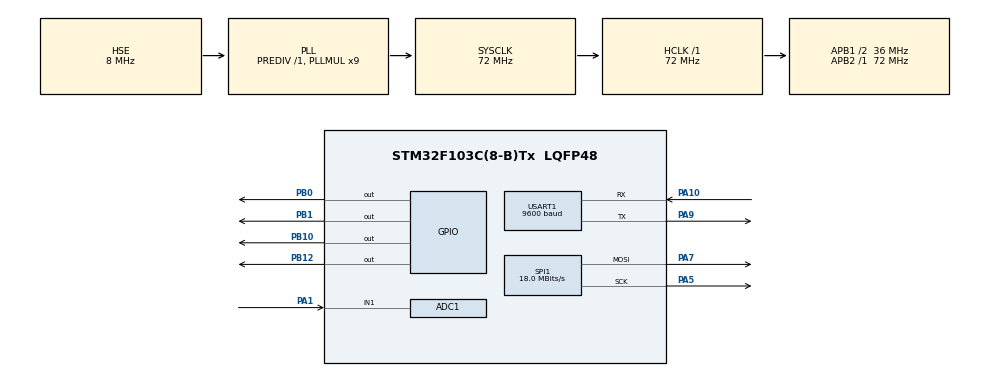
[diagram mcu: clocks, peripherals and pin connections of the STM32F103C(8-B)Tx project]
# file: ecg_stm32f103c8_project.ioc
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ADC1.Channel-0\#ChannelRegularConversion=ADC_CHANNEL_1
ADC1.ExternalTrigConv=ADC_EXTERNALTRIGCONV_T3_TRGO
ADC1.NbrOfConversionFlag=1
ADC1.Rank-0\#ChannelRegularConversion=1
ADC1.SamplingTime-0\#ChannelRegularConversion=ADC_SAMPLETIME_1CYCLE_5
ADC1.master=1
Dma.Request0=SPI1_TX
Dma.SPI1_TX.0.Direction=DMA_MEMORY_TO_PERIPH
Dma.SPI1_TX.0.Instance=DMA1_Channel3
Dma.SPI1_TX.0.MemDataAlignment=DMA_MDATAALIGN_BYTE
Dma.SPI1_TX.0.MemInc=DMA_MINC_ENABLE
Dma.SPI1_TX.0.Mode=DMA_NORMAL
Dma.SPI1_TX.0.PeriphDataAlignment=DMA_PDATAALIGN_BYTE
Dma.SPI1_TX.0.PeriphInc=DMA_PINC_DISABLE
Dma.SPI1_TX.0.Priority=DMA_PRIORITY_LOW
Mcu.Family=STM32F1
Mcu.Name=STM32F103C(8-B)Tx
Mcu.Package=LQFP48
NVIC.ADC1_2_IRQn=true\:0\:0\:false\:false\:true\:true\:true
NVIC.DMA1_Channel3_IRQn=true\:0\:0\:false\:false\:true\:false\:true
NVIC.PriorityGroup=NVIC_PRIORITYGROUP_4
NVIC.TIM2_IRQn=true\:0\:0\:false\:false\:true\:true\:true
NVIC.TIM3_IRQn=true\:0\:0\:false\:false\:true\:true\:true
NVIC.TIM4_IRQn=true\:0\:0\:false\:false\:true\:true\:true
PA1.Signal=ADCx_IN1
PA10.Mode=Asynchronous
PA10.Signal=USART1_RX
PA5.Mode=TX_Only_Simplex_Unidirect_Master
PA5.Signal=SPI1_SCK
PA7.Mode=TX_Only_Simplex_Unidirect_Master
PA7.Signal=SPI1_MOSI
PA9.Mode=Asynchronous
PA9.Signal=USART1_TX
PB0.Signal=GPIO_Output
PB1.Signal=GPIO_Output
PB10.Signal=GPIO_Output
PB12.GPIO_Speed=GPIO_SPEED_FREQ_HIGH
PB12.Signal=GPIO_Output
PD0-OSC_IN.Mode=HSE-External-Oscillator
PD0-OSC_IN.Signal=RCC_OSC_IN
PD1-OSC_OUT.Mode=HSE-External-Oscillator
PD1-OSC_OUT.Signal=RCC_OSC_OUT
ProjectManager.HeapSize=0x200
ProjectManager.StackSize=0x400
ProjectManager.TargetToolchain=STM32CubeIDE
RCC.ADCPresc=RCC_ADCPCLK2_DIV6
RCC.AHBFreq_Value=72000000
RCC.APB1CLKDivider=RCC_HCLK_DIV2
RCC.APB1Freq_Value=36000000
RCC.APB1TimFreq_Value=72000000
RCC.APB2Freq_Value=72000000
RCC.APB2TimFreq_Value=72000000
RCC.HCLKFreq_Value=72000000
RCC.PLLMUL=RCC_PLL_MUL9
RCC.PLLSourceVirtual=RCC_PLLSOURCE_HSE
RCC.SYSCLKFreq_VALUE=72000000
RCC.SYSCLKSource=RCC_SYSCLKSOURCE_PLLCLK
RCC.USBFreq_Value=72000000
SH.ADCx_IN1.0=ADC1_IN1,IN1
SPI1.BaudRatePrescaler=SPI_BAUDRATEPRESCALER_4
SPI1.CalculateBaudRate=18.0 MBits/s
SPI1.Direction=SPI_DIRECTION_2LINES
SPI1.Mode=SPI_MODE_MASTER
SPI1.VirtualType=VM_MASTER
TIM2.Period=30
TIM2.Prescaler=7200
TIM3.AutoReloadPreload=TIM_AUTORELOAD_PRELOAD_ENABLE
TIM3.Period=30
TIM3.Prescaler=7200
TIM3.TIM_MasterOutputTrigger=TIM_TRGO_UPDATE
TIM4.Period=100
TIM4.Prescaler=7200
USART1.BaudRate=9600
USART1.VirtualMode=VM_ASYNC
VP_SYS_VS_ND.Mode=No_Debug
VP_TIM2_VS_ClockSourceINT.Mode=Internal
VP_TIM3_VS_ClockSourceINT.Mode=Internal
VP_TIM4_VS_ClockSourceINT.Mode=Internal
board=custom

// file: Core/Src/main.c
/* USER CODE BEGIN Header */
/**
  ******************************************************************************
  * @file           : main.c
  * @brief          : Main program body
  ******************************************************************************
  * @attention
  *
  * Copyright (c) 2021 STMicroelectronics.
  * All rights reserved.
  *
  * This software is licensed under terms that can be found in the LICENSE file
  * in the root directory of this software component.
  * If no LICENSE file comes with this software, it is provided AS-IS.
  *
  ******************************************************************************
  */
/* USER CODE END Header */
#include "main.h"

/* USER CODE BEGIN Includes */
#include "ILI9341_STM32_Driver.h"
#include "ILI9341_GFX.h"
/* USER CODE END Includes */

/* USER CODE BEGIN PM */
#define SCREEN_WIDTH 320
#define SCREEN_HEIGHT 240
#define PEAK_THRESHOLD_PIXELS SCREEN_HEIGHT - 180
/* USER CODE END PM */

ADC_HandleTypeDef hadc1;

SPI_HandleTypeDef hspi1;
DMA_HandleTypeDef hdma_spi1_tx;

TIM_HandleTypeDef htim2;
TIM_HandleTypeDef htim3;
TIM_HandleTypeDef htim4;

UART_HandleTypeDef huart1;

/* USER CODE BEGIN PV */
unsigned int adcVal;
unsigned int y;
unsigned int yOld = 240;
unsigned int msgLength;
char msg[50];
unsigned int xPos;
unsigned int screenFlag;
unsigned int bpm;
unsigned int counter;
unsigned int bpmFlag;
/* USER CODE END PV */

void SystemClock_Config(void);
static void MX_GPIO_Init(void);
static void MX_DMA_Init(void);
static void MX_SPI1_Init(void);
static void MX_ADC1_Init(void);
static void MX_TIM3_Init(void);
static void MX_USART1_UART_Init(void);
static void MX_TIM2_Init(void);
static void MX_TIM4_Init(void);
/* USER CODE BEGIN PFP */
void updateBPM(void);
/* USER CODE END PFP */

int main(void)
{

  /* MCU Configuration--------------------------------------------------------*/

  /* Reset of all peripherals, Initializes the Flash interface and the Systick. */
  HAL_Init();

  /* Configure the system clock */
  SystemClock_Config();

  /* Initialize all configured peripherals */
  MX_GPIO_Init();
  MX_DMA_Init();
  MX_SPI1_Init();
  MX_ADC1_Init();
  MX_TIM3_Init();
  MX_USART1_UART_Init();
  MX_TIM2_Init();
  MX_TIM4_Init();
  /* USER CODE BEGIN 2 */
  ILI9341_Init();
  HAL_TIM_Base_Start_IT(&htim3);	// screen update timer
  HAL_ADC_Start_IT(&hadc1);
  HAL_TIM_Base_Start_IT(&htim2);	// adc timer
  HAL_TIM_Base_Start_IT(&htim4);	// bpm counter timer

  ILI9341_FillScreen(BLACK);
  ILI9341_SetRotation(SCREEN_HORIZONTAL_2);

  ILI9341_DrawText("BPM value: ", FONT3, 10, 5, WHITE, BLACK);
  /* USER CODE END 2 */

  /* Infinite loop */
  /* USER CODE BEGIN WHILE */

  while (1)
  {
	  	while(screenFlag != 0)
	  	{
			y = (215 - (adcVal/19)) + 25; 	// normalize between 0 and 215 (leave top 25 pixels for BPM monitoring)

			if(y < PEAK_THRESHOLD_PIXELS && bpmFlag == 0)
			{
				bpmFlag = 1;
				updateBPM();
			}

			if(y > PEAK_THRESHOLD_PIXELS && bpmFlag == 1)
			{
				bpmFlag = 0;
			}

			ILI9341_DrawLine(xPos, yOld, xPos + 1, y, WHITE);
			xPos = xPos + 1;
			yOld = y;

			if(xPos >= SCREEN_WIDTH)
			{
				xPos = 0;
				ILI9341_DrawFilledRectangleCoord(0, 25, 320, 240, BLACK);
				ILI9341_DrawFilledRectangleCoord(95, 0, 320, 25, BLACK);
				ILI9341_DrawText(msg, FONT3, 95, 5, WHITE, BLACK);
			}
			screenFlag = 0;
	  	}

    /* USER CODE END WHILE */

  }
}

void SystemClock_Config(void)
{
  RCC_OscInitTypeDef RCC_OscInitStruct = {0};
  RCC_ClkInitTypeDef RCC_ClkInitStruct = {0};
  RCC_PeriphCLKInitTypeDef PeriphClkInit = {0};

  /** Initializes the RCC Oscillators according to the specified parameters
  * in the RCC_OscInitTypeDef structure.
  */
  RCC_OscInitStruct.OscillatorType = RCC_OSCILLATORTYPE_HSE;
  RCC_OscInitStruct.HSEState = RCC_HSE_ON;
  RCC_OscInitStruct.HSEPredivValue = RCC_HSE_PREDIV_DIV1;
  RCC_OscInitStruct.HSIState = RCC_HSI_ON;
  RCC_OscInitStruct.PLL.PLLState = RCC_PLL_ON;
  RCC_OscInitStruct.PLL.PLLSource = RCC_PLLSOURCE_HSE;
  RCC_OscInitStruct.PLL.PLLMUL = RCC_PLL_MUL9;
  if (HAL_RCC_OscConfig(&RCC_OscInitStruct) != HAL_OK)
  {
    Error_Handler();
  }
  /** Initializes the CPU, AHB and APB buses clocks
  */
  RCC_ClkInitStruct.ClockType = RCC_CLOCKTYPE_HCLK|RCC_CLOCKTYPE_SYSCLK
                              |RCC_CLOCKTYPE_PCLK1|RCC_CLOCKTYPE_PCLK2;
  RCC_ClkInitStruct.SYSCLKSource = RCC_SYSCLKSOURCE_PLLCLK;
  RCC_ClkInitStruct.AHBCLKDivider = RCC_SYSCLK_DIV1;
  RCC_ClkInitStruct.APB1CLKDivider = RCC_HCLK_DIV2;
  RCC_ClkInitStruct.APB2CLKDivider = RCC_HCLK_DIV1;

  if (HAL_RCC_ClockConfig(&RCC_ClkInitStruct, FLASH_LATENCY_2) != HAL_OK)
  {
    Error_Handler();
  }
  PeriphClkInit.PeriphClockSelection = RCC_PERIPHCLK_ADC;
  PeriphClkInit.AdcClockSelection = RCC_ADCPCLK2_DIV6;
  if (HAL_RCCEx_PeriphCLKConfig(&PeriphClkInit) != HAL_OK)
  {
    Error_Handler();
  }
}

static void MX_ADC1_Init(void)
{

  ADC_ChannelConfTypeDef sConfig = {0};

  /** Common config
  */
  hadc1.Instance = ADC1;
  hadc1.Init.ScanConvMode = ADC_SCAN_DISABLE;
  hadc1.Init.ContinuousConvMode = DISABLE;
  hadc1.Init.DiscontinuousConvMode = DISABLE;
  hadc1.Init.ExternalTrigConv = ADC_EXTERNALTRIGCONV_T3_TRGO;
  hadc1.Init.DataAlign = ADC_DATAALIGN_RIGHT;
  hadc1.Init.NbrOfConversion = 1;
  if (HAL_ADC_Init(&hadc1) != HAL_OK)
  {
    Error_Handler();
  }
  /** Configure Regular Channel
  */
  sConfig.Channel = ADC_CHANNEL_1;
  sConfig.Rank = ADC_REGULAR_RANK_1;
  sConfig.SamplingTime = ADC_SAMPLETIME_1CYCLE_5;
  if (HAL_ADC_ConfigChannel(&hadc1, &sConfig) != HAL_OK)
  {
    Error_Handler();
  }

}

static void MX_SPI1_Init(void)
{

  /* SPI1 parameter configuration*/
  hspi1.Instance = SPI1;
  hspi1.Init.Mode = SPI_MODE_MASTER;
  hspi1.Init.Direction = SPI_DIRECTION_2LINES;
  hspi1.Init.DataSize = SPI_DATASIZE_8BIT;
  hspi1.Init.CLKPolarity = SPI_POLARITY_LOW;
  hspi1.Init.CLKPhase = SPI_PHASE_1EDGE;
  hspi1.Init.NSS = SPI_NSS_SOFT;
  hspi1.Init.BaudRatePrescaler = SPI_BAUDRATEPRESCALER_4;
  hspi1.Init.FirstBit = SPI_FIRSTBIT_MSB;
  hspi1.Init.TIMode = SPI_TIMODE_DISABLE;
  hspi1.Init.CRCCalculation = SPI_CRCCALCULATION_DISABLE;
  hspi1.Init.CRCPolynomial = 10;
  if (HAL_SPI_Init(&hspi1) != HAL_OK)
  {
    Error_Handler();
  }

}

static void MX_TIM2_Init(void)
{

  TIM_ClockConfigTypeDef sClockSourceConfig = {0};
  TIM_MasterConfigTypeDef sMasterConfig = {0};

  htim2.Instance = TIM2;
  htim2.Init.Prescaler = 7200;
  htim2.Init.CounterMode = TIM_COUNTERMODE_UP;
  htim2.Init.Period = 30;
  htim2.Init.ClockDivision = TIM_CLOCKDIVISION_DIV1;
  htim2.Init.AutoReloadPreload = TIM_AUTORELOAD_PRELOAD_DISABLE;
  if (HAL_TIM_Base_Init(&htim2) != HAL_OK)
  {
    Error_Handler();
  }
  sClockSourceConfig.ClockSource = TIM_CLOCKSOURCE_INTERNAL;
  if (HAL_TIM_ConfigClockSource(&htim2, &sClockSourceConfig) != HAL_OK)
  {
    Error_Handler();
  }
  sMasterConfig.MasterOutputTrigger = TIM_TRGO_RESET;
  sMasterConfig.MasterSlaveMode = TIM_MASTERSLAVEMODE_DISABLE;
  if (HAL_TIMEx_MasterConfigSynchronization(&htim2, &sMasterConfig) != HAL_OK)
  {
    Error_Handler();
  }

}

static void MX_TIM3_Init(void)
{

  TIM_ClockConfigTypeDef sClockSourceConfig = {0};
  TIM_MasterConfigTypeDef sMasterConfig = {0};

  htim3.Instance = TIM3;
  htim3.Init.Prescaler = 7200;
  htim3.Init.CounterMode = TIM_COUNTERMODE_UP;
  htim3.Init.Period = 30;
  htim3.Init.ClockDivision = TIM_CLOCKDIVISION_DIV1;
  htim3.Init.AutoReloadPreload = TIM_AUTORELOAD_PRELOAD_ENABLE;
  if (HAL_TIM_Base_Init(&htim3) != HAL_OK)
  {
    Error_Handler();
  }
  sClockSourceConfig.ClockSource = TIM_CLOCKSOURCE_INTERNAL;
  if (HAL_TIM_ConfigClockSource(&htim3, &sClockSourceConfig) != HAL_OK)
  {
    Error_Handler();
  }
  sMasterConfig.MasterOutputTrigger = TIM_TRGO_UPDATE;
  sMasterConfig.MasterSlaveMode = TIM_MASTERSLAVEMODE_DISABLE;
  if (HAL_TIMEx_MasterConfigSynchronization(&htim3, &sMasterConfig) != HAL_OK)
  {
    Error_Handler();
  }

}

static void MX_TIM4_Init(void)
{

  TIM_ClockConfigTypeDef sClockSourceConfig = {0};
  TIM_MasterConfigTypeDef sMasterConfig = {0};

  htim4.Instance = TIM4;
  htim4.Init.Prescaler = 7200;
  htim4.Init.CounterMode = TIM_COUNTERMODE_UP;
  htim4.Init.Period = 100;
  htim4.Init.ClockDivision = TIM_CLOCKDIVISION_DIV1;
  htim4.Init.AutoReloadPreload = TIM_AUTORELOAD_PRELOAD_DISABLE;
  if (HAL_TIM_Base_Init(&htim4) != HAL_OK)
  {
    Error_Handler();
  }
  sClockSourceConfig.ClockSource = TIM_CLOCKSOURCE_INTERNAL;
  if (HAL_TIM_ConfigClockSource(&htim4, &sClockSourceConfig) != HAL_OK)
  {
    Error_Handler();
  }
  sMasterConfig.MasterOutputTrigger = TIM_TRGO_RESET;
  sMasterConfig.MasterSlaveMode = TIM_MASTERSLAVEMODE_DISABLE;
  if (HAL_TIMEx_MasterConfigSynchronization(&htim4, &sMasterConfig) != HAL_OK)
  {
    Error_Handler();
  }

}

static void MX_USART1_UART_Init(void)
{

  huart1.Instance = USART1;
  huart1.Init.BaudRate = 9600;
  huart1.Init.WordLength = UART_WORDLENGTH_8B;
  huart1.Init.StopBits = UART_STOPBITS_1;
  huart1.Init.Parity = UART_PARITY_NONE;
  huart1.Init.Mode = UART_MODE_TX_RX;
  huart1.Init.HwFlowCtl = UART_HWCONTROL_NONE;
  huart1.Init.OverSampling = UART_OVERSAMPLING_16;
  if (HAL_UART_Init(&huart1) != HAL_OK)
  {
    Error_Handler();
  }

}

static void MX_DMA_Init(void)
{

  /* DMA controller clock enable */
  __HAL_RCC_DMA1_CLK_ENABLE();

  /* DMA interrupt init */
  /* DMA1_Channel3_IRQn interrupt configuration */
  HAL_NVIC_SetPriority(DMA1_Channel3_IRQn, 0, 0);
  HAL_NVIC_EnableIRQ(DMA1_Channel3_IRQn);

}

static void MX_GPIO_Init(void)
{
  GPIO_InitTypeDef GPIO_InitStruct = {0};

  /* GPIO Ports Clock Enable */
  __HAL_RCC_GPIOD_CLK_ENABLE();
  __HAL_RCC_GPIOA_CLK_ENABLE();
  __HAL_RCC_GPIOB_CLK_ENABLE();

  /*Configure GPIO pin Output Level */
  HAL_GPIO_WritePin(GPIOB, GPIO_PIN_0|GPIO_PIN_1|GPIO_PIN_10|GPIO_PIN_12, GPIO_PIN_RESET);

  /*Configure GPIO pins : PB0 PB1 PB10 */
  GPIO_InitStruct.Pin = GPIO_PIN_0|GPIO_PIN_1|GPIO_PIN_10;
  GPIO_InitStruct.Mode = GPIO_MODE_OUTPUT_PP;
  GPIO_InitStruct.Pull = GPIO_NOPULL;
  GPIO_InitStruct.Speed = GPIO_SPEED_FREQ_LOW;
  HAL_GPIO_Init(GPIOB, &GPIO_InitStruct);

  /*Configure GPIO pin : PB12 */
  GPIO_InitStruct.Pin = GPIO_PIN_12;
  GPIO_InitStruct.Mode = GPIO_MODE_OUTPUT_PP;
  GPIO_InitStruct.Pull = GPIO_NOPULL;
  GPIO_InitStruct.Speed = GPIO_SPEED_FREQ_HIGH;
  HAL_GPIO_Init(GPIOB, &GPIO_InitStruct);

}

/* USER CODE BEGIN 4 */
void HAL_ADC_ConvCpltCallback(ADC_HandleTypeDef* hadc1)
{
	adcVal = HAL_ADC_GetValue(hadc1);
}

void HAL_TIM_PeriodElapsedCallback (TIM_HandleTypeDef * htim)
{
	if(htim == &htim3)
	{
		screenFlag = 1;
	}

	else if(htim == &htim4)
	{
		counter = counter + 1;	//increment the counter once every 1/100th of a second
		if(counter > 500)
		{
			msgLength = sprintf(msg, "N/A");
		}
	}

	else
	{
		return;
	}
}

void updateBPM(void)
{
	float intermediateValue;
	uint16_t bpm;

	intermediateValue = 1.0f/(counter/6000.0f);
	bpm = (uint16_t)intermediateValue;

	msgLength = sprintf(msg, "%u", bpm);
	counter = 0;
}
/* USER CODE END 4 */

void Error_Handler(void)
{
  __disable_irq();
  while (1)
  {
  }
}
